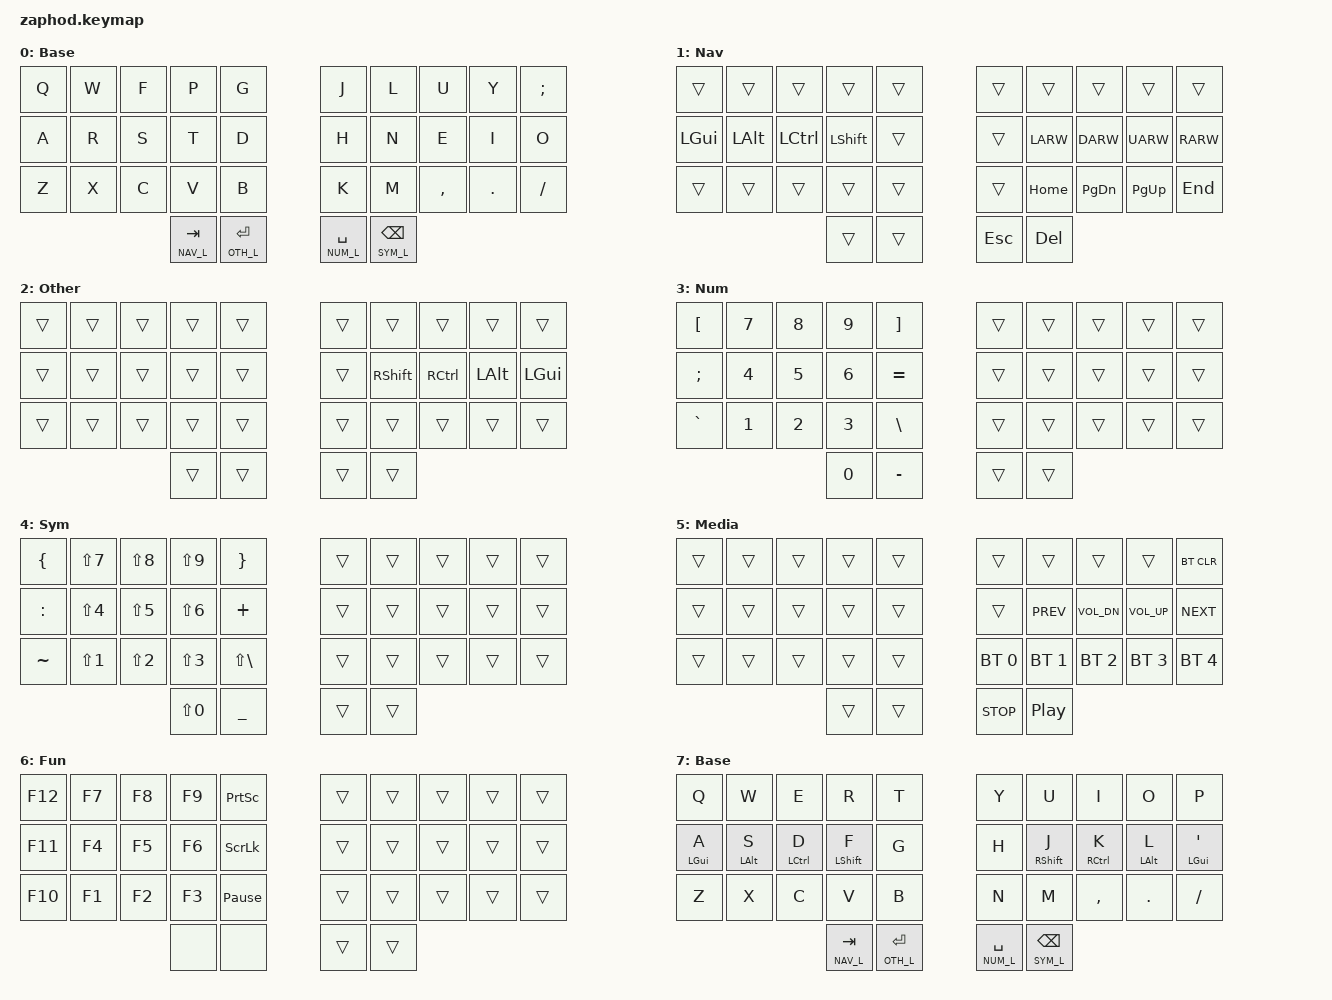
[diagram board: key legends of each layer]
/*
 * Copyright (c) 2021 Pete Johanson
 *
 * SPDX-License-Identifier: MIT
 */

#include <behaviors.dtsi>
#include <dt-bindings/zmk/keys.h>
#include <dt-bindings/zmk/bt.h>
#include <dt-bindings/zmk/outputs.h>

#define NAV_L 1
#define OTH_L 2
#define NUM_L 3
#define SYM_L 4
#define MED_L 5
#define FUN_L 6

// Using layer taps on thumbs, having quick tap as well helps w/ repeating space/backspace
&lt { quick_tap_ms = <200>; };

/ {
    combos {
        compatible = "zmk,combos";

        med_mo {
	    timeout-ms = <50>;
            key-positions = <30 31>;
            bindings = <&mo MED_L>;
        };

        fn_mo {
	    timeout-ms = <50>;
            key-positions = <32 33>;
            bindings = <&mo FUN_L>;
        };

    };

    behaviors {
        hm: homerow_mods {
            compatible = "zmk,behavior-hold-tap";
            label = "homerow mods";
            #binding-cells = <2>;
            tapping_term_ms = <200>;
            flavor = "tap-preferred";
            bindings = <&kp>, <&kp>;
        };
    };

    keymap {
        compatible = "zmk,keymap";

        default_layer {
            label = "Base";
            bindings = <
                &kp Q      &kp W      &kp F       &kp P          &kp G         &kp J            &kp L          &kp U       &kp Y      &kp SEMI
                &kp A      &kp R      &kp S       &kp T          &kp D         &kp H            &kp N          &kp E       &kp I      &kp O
                &kp Z      &kp X      &kp C       &kp V          &kp B         &kp K            &kp M          &kp COMMA   &kp DOT    &kp FSLH
                                                  &lt NAV_L TAB  &lt OTH_L RET &lt NUM_L SPACE  &lt SYM_L BKSP
            >;
        };

        nav_layer {
            label = "Nav";
            bindings = <
                &trans     &trans     &trans      &trans          &trans       &trans           &trans         &trans      &trans     &trans
                &kp LGUI   &kp LALT   &kp LCTRL   &kp LSHFT       &trans       &trans           &kp LARW       &kp DARW    &kp UARW   &kp RARW
                &trans     &trans     &trans      &trans          &trans       &trans           &kp HOME       &kp PG_DN   &kp PG_UP  &kp END
                                                  &trans          &trans       &kp ESC          &kp DEL
            >;
        };

        other_layer {
            label = "Other";
            bindings = <
                &trans	   &trans     &trans      &trans          &trans       &trans           &trans         &trans       &trans       &trans
                &trans     &trans     &trans      &trans          &trans       &trans           &kp RSHFT      &kp RCTRL    &kp LALT    &kp LGUI
                &trans     &trans     &trans      &trans          &trans       &trans           &trans         &trans       &trans       &trans
                                                  &trans          &trans       &trans           &trans
            >;
        };

        num_layer {
            label = "Num";
            bindings = <
                &kp LBKT   &kp N7     &kp N8      &kp N9          &kp RBKT      &trans          &trans         &trans      &trans     &trans
                &kp SEMI   &kp N4     &kp N5      &kp N6          &kp EQUAL     &trans          &trans         &trans      &trans     &trans
                &kp GRAVE  &kp N1     &kp N2      &kp N3          &kp BSLH      &trans          &trans         &trans      &trans     &trans
                                                  &kp N0          &kp MINUS     &trans          &trans
            >;
        };

        sym_layer {
            label = "Sym";
            bindings = <
                &kp LBRC     &kp LS(N7)  &kp LS(N8)  &kp LS(N9) &kp RBRC        &trans &trans   &trans    &trans    &trans
                &kp COLON    &kp LS(N4)  &kp LS(N5)  &kp LS(N6) &kp PLUS        &trans &trans   &trans    &trans    &trans
                &kp TILDE    &kp LS(N1)  &kp LS(N2)  &kp LS(N3) &kp LS(BSLH)    &trans &trans   &trans    &trans    &trans
                                                   &kp LS(N0) &kp UNDER         &trans &trans
            >;
        };

        media_layer {
            label = "Media";
            bindings = <
                &trans	   &trans     &trans      &trans          &trans       &trans           &trans         &trans       &trans       &bt BT_CLR
                &trans     &trans     &trans      &trans          &trans       &trans           &kp C_PREV     &kp C_VOL_DN &kp C_VOL_UP &kp C_NEXT
                &trans     &trans     &trans      &trans          &trans       &bt BT_SEL 0     &bt BT_SEL 1   &bt BT_SEL 2 &bt BT_SEL 3 &bt BT_SEL 4
                                                  &trans          &trans       &kp C_STOP       &kp C_PLAY_PAUSE
            >;
        };

        fun_layer {
            label = "Fun";
            bindings = <
                &kp F12     &kp F7     &kp F8      &kp F9     &kp PSCRN         &trans          &trans         &trans      &trans     &trans
                &kp F11     &kp F4     &kp F5      &kp F6     &kp SLCK          &trans          &trans         &trans      &trans     &trans
                &kp F10     &kp F1     &kp F2      &kp F3     &kp PAUSE_BREAK   &trans          &trans         &trans      &trans     &trans
                                                   &none      &none             &trans          &trans
            >;
        };

        qwerty_layer {
            label = "Base";
            bindings = <
                &kp Q      &kp W      &kp E       &kp R          &kp T         &kp Y            &kp U          &kp I       &kp O      &kp P
                &hm LGUI A &hm LALT S &hm LCTRL D &hm LSHFT F    &kp G         &kp H            &hm RSHFT J    &hm RCTRL K &hm LALT L &hm LGUI QUOT
                &kp Z      &kp X      &kp C       &kp V          &kp B         &kp N            &kp M          &kp COMMA   &kp DOT    &kp FSLH
                                                  &lt NAV_L TAB  &lt OTH_L RET &lt NUM_L SPACE  &lt SYM_L BKSP
            >;
        };
    };
};

